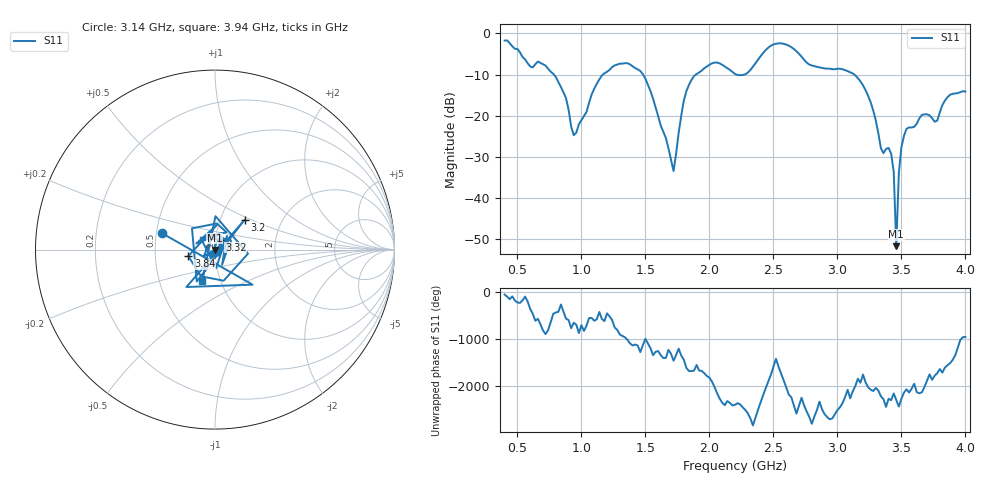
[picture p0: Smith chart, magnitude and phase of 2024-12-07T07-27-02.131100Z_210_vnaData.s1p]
!Created with skrf (http://scikit-rf.org).
# Hz S RI R 50.0
!freq ReS11 ImS11
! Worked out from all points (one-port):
!   181 points, 400 MHz to 4 GHz, reference 50 ohm
!   lowest |S11| = -51.7 dB at 3.46 GHz (marker M1), VSWR 1.01, Z = 49.8 - j0.192 ohm
!   |S11| at or under -10 dB: 785.6 MHz to 1.168 GHz (382.3 MHz wide, 39.1 % of centre); 1.482 GHz to 1.894 GHz (412.1 MHz wide, 24.4 % of centre); 3.132 GHz to end of sweep (the widest 3 of 4)
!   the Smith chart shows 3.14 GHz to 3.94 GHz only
!   S11 on the Smith chart (normalised r, x): 3.14 GHz: 0.54, +0.11; 3.2 GHz: 1.30, +0.46; 3.32 GHz: 1.05, +0.12; 3.84 GHz: 0.74, -0.05; 3.94 GHz: 0.82, -0.30
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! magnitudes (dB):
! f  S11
! 400 MHz  -1.7
! 860 MHz  -14.3
! 940 MHz  -24.7
! 1.14 GHz  -11.2
! 1.3 GHz  -7.3
! 1.5 GHz  -11.0
! 1.72 GHz  -33.4
! 1.76 GHz  -24.1
! 1.82 GHz  -14.0
! 1.88 GHz  -10.3
! 2.04 GHz  -7.1
! 2.2 GHz  -9.8
! 2.5 GHz  -2.7
! 2.66 GHz  -3.8
! 3.1 GHz  -9.4
! 3.14 GHz  -10.2
! 3.2 GHz  -12.6
! 3.32 GHz  -24.3
! 3.42 GHz  -29.2
! 3.44 GHz  -33.6
! 3.46 GHz  -51.7
! 3.48 GHz  -34.0
! 3.5 GHz  -27.7
! 3.56 GHz  -22.8
! 3.78 GHz  -21.2
! 3.84 GHz  -16.3
! 3.94 GHz  -14.5
! 4 GHz  -14.1
